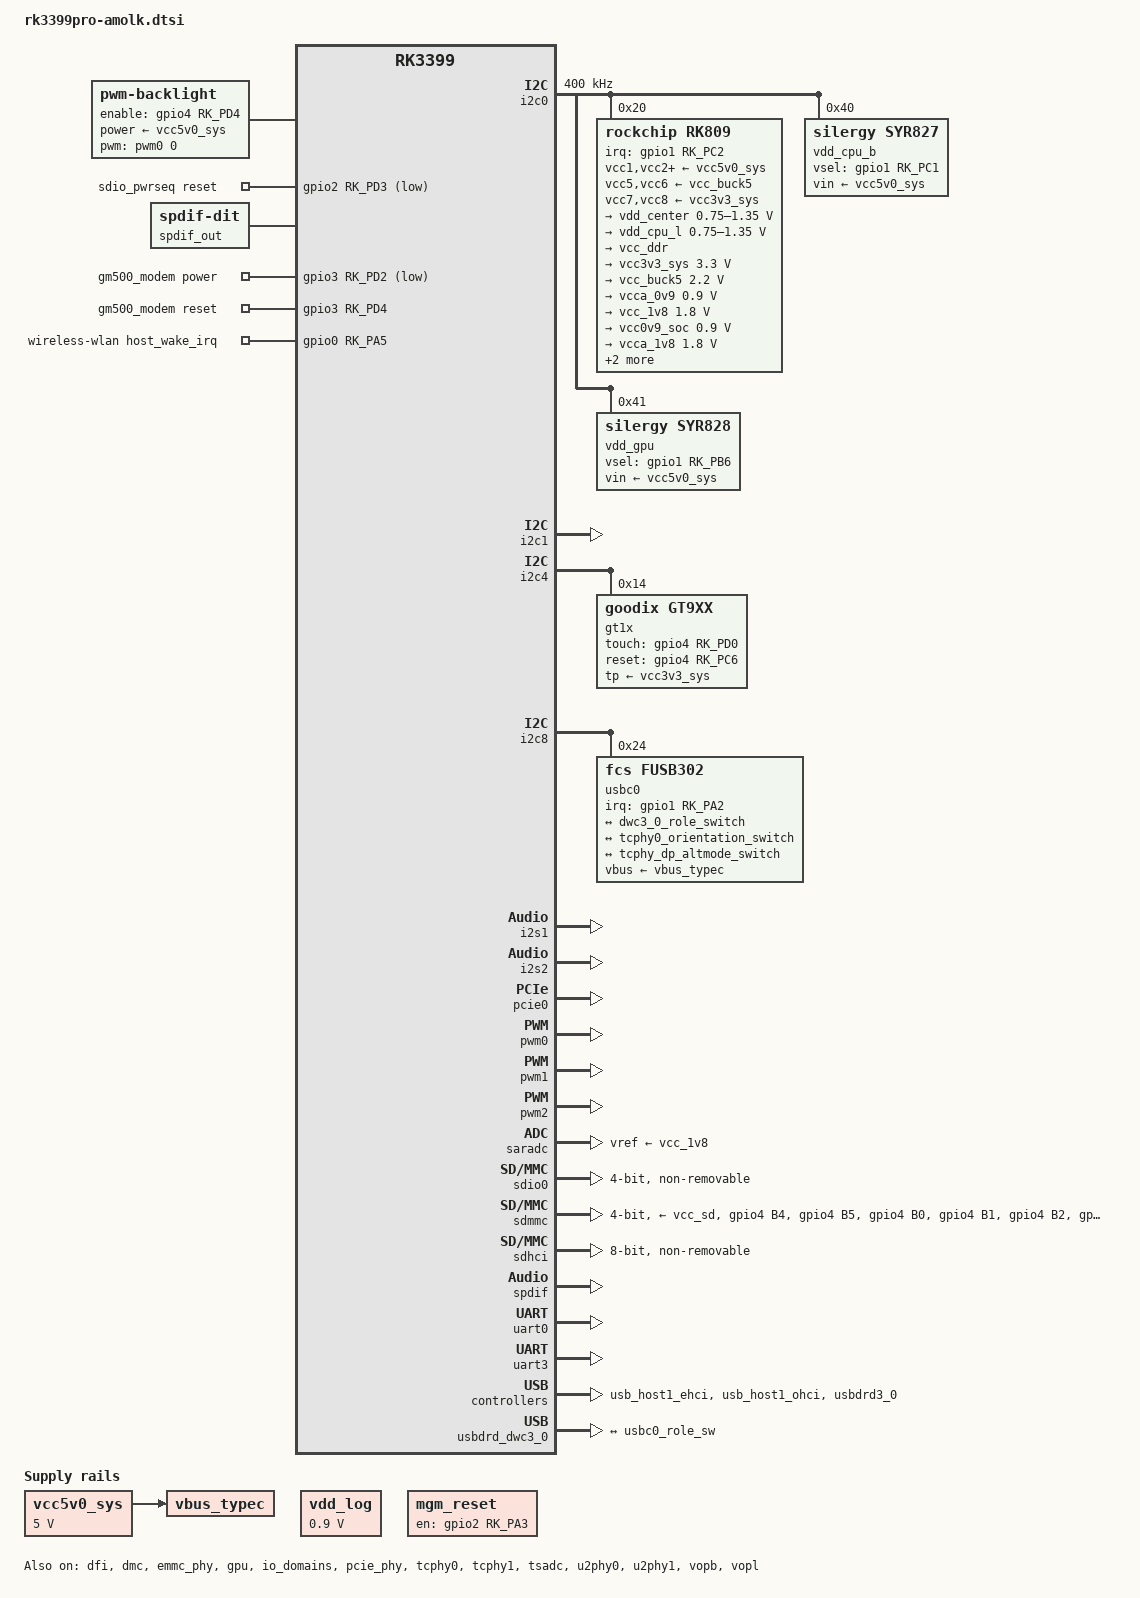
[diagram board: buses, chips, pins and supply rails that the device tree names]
// SPDX-License-Identifier: (GPL-2.0+ OR MIT)

#include <dt-bindings/pwm/pwm.h>
#include <dt-bindings/gpio/gpio.h>
#include <dt-bindings/pinctrl/rockchip.h>
#include <dt-bindings/input/input.h>
#include <dt-bindings/usb/pd.h>
#include <dt-bindings/display/drm_mipi_dsi.h>
#include <dt-bindings/sensor-dev.h>

#include "rk3399pro.dtsi"
#include "rk3399-opp.dtsi"

/ {
	compatible = "rockchip,rk3399pro-amolk",
				 "rockchip,rk3399pro-amolk-android",
				 "rockchip,rk3399pro";

	backlight: backlight {
		compatible = "pwm-backlight";
		power-supply = <&vcc5v0_sys>;
		pwms = <&pwm0 0 25000 0>;
		brightness-levels = <
			  0   1   2   3   4   5   6   7
			  8   9  10  11  12  13  14  15
			 16  17  18  19  20  21  22  23
			 24  25  26  27  28  29  30  31
			 32  33  34  35  36  37  38  39
			 40  41  42  43  44  45  46  47
			 48  49  50  51  52  53  54  55
			 56  57  58  59  60  61  62  63
			 64  65  66  67  68  69  70  71
			 72  73  74  75  76  77  78  79
			 80  81  82  83  84  85  86  87
			 88  89  90  91  92  93  94  95
			 96  97  98  99 100 101 102 103
			104 105 106 107 108 109 110 111
			112 113 114 115 116 117 118 119
			120 121 122 123 124 125 126 127
			128 129 130 131 132 133 134 135
			136 137 138 139 140 141 142 143
			144 145 146 147 148 149 150 151
			152 153 154 155 156 157 158 159
			160 161 162 163 164 165 166 167
			168 169 170 171 172 173 174 175
			176 177 178 179 180 181 182 183
			184 185 186 187 188 189 190 191
			192 193 194 195 196 197 198 199
			200 201 202 203 204 205 206 207
			208 209 210 211 212 213 214 215
			216 217 218 219 220 221 222 223
			224 225 226 227 228 229 230 231
			232 233 234 235 236 237 238 239
			240 241 242 243 244 245 246 247
			248 249 250 251 252 253 254 255
		>;
		default-brightness-level = <200>;
		enable-gpios = <&gpio4 RK_PD4 GPIO_ACTIVE_HIGH>;
	};

	sdio_pwrseq: sdio-pwrseq {
		compatible = "mmc-pwrseq-simple";
		clocks = <&rk809 1>;
		clock-names = "ext_clock";
		pinctrl-names = "default";
		pinctrl-0 = <&wifi_reg_on_h>;
		reset-gpios = <&gpio2 RK_PD3 GPIO_ACTIVE_LOW>;
		status = "okay";
	};

	spdif-sound {
		status = "okay";
		compatible = "simple-audio-card";
		simple-audio-card,name = "rockchip,spdif";
		simple-audio-card,cpu {
			sound-dai = <&spdif>;
		};
		simple-audio-card,codec {
			sound-dai = <&spdif_out>;
		};
	};

	spdif_out: spdif-out {
		status = "okay";
		compatible = "linux,spdif-dit";
		#sound-dai-cells = <0>;
	};

	vcc5v0_sys: vccsys {
		compatible = "regulator-fixed";
		regulator-name = "vcc5v0_sys";
		regulator-always-on;
		regulator-boot-on;
		regulator-min-microvolt = <5000000>;
		regulator-max-microvolt = <5000000>;
	};

	vdd_log: vdd_log {
		compatible = "regulator-fixed";
		regulator-name = "vdd_log";
		regulator-always-on;
		regulator-boot-on;
		regulator-min-microvolt = <900000>;
		regulator-max-microvolt = <900000>;
	};

	vbus_typec: vbus-typec-regulator {
		compatible = "regulator-fixed";
		enable-active-high;
		regulator-always-on;
		regulator-boot-on;
		regulator-name = "vbus_typec";
		vin-supply = <&vcc5v0_sys>;
	};

	rk809_sound: rk809-sound {
		compatible = "rockchip,multicodecs-card";
		rockchip,card-name = "rockchip,rk809-codec";
		rockchip,codec-hp-det;
		rockchip,mclk-fs = <256>;
		rockchip,cpu = <&i2s1>;
		rockchip,codec = <&rk809_codec>;
		status = "okay";
	};

	hdmi_sound: hdmi-sound {
		compatible = "rockchip,hdmi";
		rockchip,mclk-fs = <256>;
		rockchip,card-name = "rockchip,hdmi";
		rockchip,cpu = <&i2s2>;
		rockchip,codec = <&hdmi>;
		rockchip,jack-det;
		status = "okay";
	};

	wireless_bluetooth: wireless-bluetooth {
		compatible = "bluetooth-platdata";
		clocks = <&rk809 1>;
		clock-names = "ext_clock";
		uart_rts_gpios = <&gpio2 RK_PC3 GPIO_ACTIVE_LOW>;
		pinctrl-names = "default", "rts_gpio";
		pinctrl-0 = <&uart0_rts>;
		pinctrl-1 = <&uart0_pins>;
		BT,reset_gpio    = <&gpio2 RK_PA3 GPIO_ACTIVE_HIGH>;
		BT,wake_gpio     = <&gpio2 RK_PA7 GPIO_ACTIVE_HIGH>;
		//BT,wake_host_irq = <&gpio0 RK_PA5 GPIO_ACTIVE_HIGH>;
		status = "disabled";
	};

	mgm_reset: mgm-reset {
		compatible = "regulator-fixed";
		regulator-name = "mgm_reset";
		enable-active-high;
		regulator-always-on;
		regulator-boot-on;
		gpio = <&gpio2 RK_PA3 GPIO_ACTIVE_HIGH>;
		status = "okay";
	};

	gm500_modem: gm500-modem {
		compatible = "4g-modem-platdata";
		pinctrl-names = "default";
		pinctrl-0 = <&gm500_power &gm500_reset>;
		4G,power-gpio = <&gpio3 RK_PD2 GPIO_ACTIVE_LOW>;
		4G,reset-gpio = <&gpio3 RK_PD4 GPIO_ACTIVE_HIGH>;
		status = "okay";
	};

	wireless-wlan {
		compatible = "wlan-platdata";
		rockchip,grf = <&grf>;
		wifi_chip_type = "wf200";
		sdio_vref = <1800>;
		WIFI,host_wake_irq = <&gpio0 RK_PA5 GPIO_ACTIVE_HIGH>;
		status = "okay";
	};

	// usbhub_reset: usbhub-reset {
	// 	compatible = "usbhub-reset";
	// 	uhrst-gpio = <&gpio4 RK_PC5 GPIO_ACTIVE_HIGH>;
	// };
};

&cdn_dp {
	status = "disabled";
	phys = <&tcphy0_dp>;
};

&cpu_l0 {
	cpu-supply = <&vdd_cpu_l>;
};

&cpu_l1 {
	cpu-supply = <&vdd_cpu_l>;
};

&cpu_l2 {
	cpu-supply = <&vdd_cpu_l>;
};

&cpu_l3 {
	cpu-supply = <&vdd_cpu_l>;
};

&cpu_b0 {
	cpu-supply = <&vdd_cpu_b>;
};

&cpu_b1 {
	cpu-supply = <&vdd_cpu_b>;
};

&dfi {
	status = "okay";
};

&dmc {
	status = "okay";
	center-supply = <&vdd_center>;
	upthreshold = <40>;
	downdifferential = <20>;
	system-status-freq = <
		/*system status         freq(KHz)*/
		SYS_STATUS_NORMAL       856000
		SYS_STATUS_REBOOT       416000
		SYS_STATUS_SUSPEND      416000
		SYS_STATUS_VIDEO_1080P  416000
		SYS_STATUS_VIDEO_4K     856000
		SYS_STATUS_VIDEO_4K_10B 856000
		SYS_STATUS_PERFORMANCE  856000
		SYS_STATUS_BOOST        856000
		SYS_STATUS_DUALVIEW     856000
		SYS_STATUS_ISP          856000
	>;
	vop-pn-msch-readlatency = <
	/* plane_number  readlatency */
		0	0
		4	0x20
	>;
	vop-bw-dmc-freq = <
	/* min_bw(MB/s) max_bw(MB/s) freq(KHz) */
		763     1893     416000
		3013    99999    856000
	>;
	auto-min-freq = <416000>;
	auto-freq-en = <0>;
};

&dmc_opp_table {
	compatible = "operating-points-v2";

	opp-200000000 {
		opp-hz = /bits/ 64 <200000000>;
		opp-microvolt = <825000>;
		status = "disabled";
	};
	opp-300000000 {
		opp-hz = /bits/ 64 <300000000>;
		opp-microvolt = <850000>;
		status = "disabled";
	};
	opp-400000000 {
		opp-hz = /bits/ 64 <400000000>;
		opp-microvolt = <900000>;
		status = "disabled";
	};
	opp-528000000 {
		opp-hz = /bits/ 64 <528000000>;
		opp-microvolt = <900000>;
		status = "disabled";
	};
	opp-600000000 {
		opp-hz = /bits/ 64 <600000000>;
		opp-microvolt = <900000>;
		status = "disabled";
	};
	opp-800000000 {
		opp-hz = /bits/ 64 <800000000>;
		opp-microvolt = <900000>;
		status = "disabled";
	};
	opp-328000000 {
		opp-hz = /bits/ 64 <328000000>;
		opp-microvolt = <850000>;
		status = "okay";
	};
	opp-416000000 {
		opp-hz = /bits/ 64 <416000000>;
		opp-microvolt = <900000>;
		status = "okay";
	};
	opp-666000000 {
		opp-hz = /bits/ 64 <666000000>;
		opp-microvolt = <900000>;
		status = "okay";
	};
	opp-856000000 {
		opp-hz = /bits/ 64 <856000000>;
		opp-microvolt = <900000>;
		status = "okay";
	};
};

&emmc_phy {
	status = "okay";
};

&gpu {
	status = "okay";
	mali-supply = <&vdd_gpu>;
};

&i2c0 {
	status = "okay";
	i2c-scl-rising-time-ns = <180>;
	i2c-scl-falling-time-ns = <30>;
	clock-frequency = <400000>;

	rk809: pmic@20 {
		compatible = "rockchip,rk809";
		reg = <0x20>;
		interrupt-parent = <&gpio1>;
		interrupts = <RK_PC2 IRQ_TYPE_LEVEL_LOW>;
		pinctrl-names = "default", "pmic-sleep",
				"pmic-power-off", "pmic-reset";
		pinctrl-0 = <&pmic_int_l>;
		pinctrl-1 = <&soc_slppin_slp>, <&rk809_slppin_slp>;
		pinctrl-2 = <&soc_slppin_gpio>, <&rk809_slppin_pwrdn>;
		pinctrl-3 = <&soc_slppin_gpio>,<&rk809_slppin_null>;
		rockchip,system-power-controller;
		pmic-reset-func = <0>;
		wakeup-source;
		#clock-cells = <1>;
		clock-output-names = "rk808-clkout1", "rk808-clkout2";

		vcc1-supply = <&vcc5v0_sys>;
		vcc2-supply = <&vcc5v0_sys>;
		vcc3-supply = <&vcc5v0_sys>;
		vcc4-supply = <&vcc5v0_sys>;
		vcc5-supply = <&vcc_buck5>;
		vcc6-supply = <&vcc_buck5>;
		vcc7-supply = <&vcc3v3_sys>;
		vcc8-supply = <&vcc3v3_sys>;
		vcc9-supply = <&vcc5v0_sys>;

		pwrkey {
			status = "okay";
		};

		rtc {
			status = "okay";
		};

		pinctrl_rk8xx: pinctrl_rk8xx {
			gpio-controller;
			#gpio-cells = <2>;

			rk809_slppin_null: rk809_slppin_null {
				pins = "gpio_slp";
				function = "pin_fun0";
			};

			rk809_slppin_slp: rk809_slppin_slp {
				pins = "gpio_slp";
				function = "pin_fun1";
			};

			rk809_slppin_pwrdn: rk809_slppin_pwrdn {
				pins = "gpio_slp";
				function = "pin_fun2";
			};

			rk809_slppin_rst: rk809_slppin_rst {
				pins = "gpio_slp";
				function = "pin_fun3";
			};
		};

		regulators {
			vdd_center: DCDC_REG1 {
				regulator-always-on;
				regulator-boot-on;
				regulator-min-microvolt = <750000>;
				regulator-max-microvolt = <1350000>;
				regulator-initial-mode = <0x2>;
				regulator-name = "vdd_center";
				regulator-state-mem {
					regulator-off-in-suspend;
					regulator-suspend-microvolt = <900000>;
				};
			};

			vdd_cpu_l: DCDC_REG2 {
				regulator-always-on;
				regulator-boot-on;
				regulator-min-microvolt = <750000>;
				regulator-max-microvolt = <1350000>;
				regulator-ramp-delay = <6001>;
				regulator-initial-mode = <0x2>;
				regulator-name = "vdd_cpu_l";
				regulator-state-mem {
					regulator-off-in-suspend;
				};
			};

			vcc_ddr: DCDC_REG3 {
				regulator-always-on;
				regulator-boot-on;
				regulator-name = "vcc_ddr";
				regulator-initial-mode = <0x2>;
				regulator-state-mem {
					regulator-on-in-suspend;
				};
			};

			vcc3v3_sys: DCDC_REG4 {
				regulator-always-on;
				regulator-boot-on;
				regulator-min-microvolt = <3300000>;
				regulator-max-microvolt = <3300000>;
				regulator-initial-mode = <0x2>;
				regulator-name = "vcc3v3_sys";
				regulator-state-mem {
					regulator-on-in-suspend;
					regulator-suspend-microvolt = <3300000>;
				};
			};

			vcc_buck5: DCDC_REG5 {
				regulator-always-on;
				regulator-boot-on;
				regulator-min-microvolt = <2200000>;
				regulator-max-microvolt = <2200000>;
				regulator-name = "vcc_buck5";
				regulator-state-mem {
					regulator-on-in-suspend;
					regulator-suspend-microvolt = <2200000>;
				};
			};

			vcca_0v9: LDO_REG1 {
				regulator-always-on;
				regulator-boot-on;
				regulator-min-microvolt = <900000>;
				regulator-max-microvolt = <900000>;
				regulator-name = "vcca_0v9";
				regulator-state-mem {
					regulator-off-in-suspend;
				};
			};

			vcc_1v8: LDO_REG2 {
				regulator-always-on;
				regulator-boot-on;
				regulator-min-microvolt = <1800000>;
				regulator-max-microvolt = <1800000>;

				regulator-name = "vcc_1v8";
				regulator-state-mem {
					regulator-on-in-suspend;
					regulator-suspend-microvolt = <1800000>;
				};
			};

			vcc0v9_soc: LDO_REG3 {
				regulator-always-on;
				regulator-boot-on;
				regulator-min-microvolt = <900000>;
				regulator-max-microvolt = <900000>;

				regulator-name = "vcc0v9_soc";
				regulator-state-mem {
					regulator-on-in-suspend;
					regulator-suspend-microvolt = <900000>;
				};
			};

			vcca_1v8: LDO_REG4 {
				regulator-always-on;
				regulator-boot-on;
				regulator-min-microvolt = <1800000>;
				regulator-max-microvolt = <1800000>;

				regulator-name = "vcca_1v8";
				regulator-state-mem {
					regulator-off-in-suspend;
				};
			};

			vdd1v5_dvp: LDO_REG5 {
				regulator-always-on;
				regulator-boot-on;
				regulator-min-microvolt = <1500000>;
				regulator-max-microvolt = <1500000>;

				regulator-name = "vdd1v5_dvp";
				regulator-state-mem {
					regulator-off-in-suspend;
				};
			};

			vcc_1v5: LDO_REG6 {
				regulator-always-on;
				regulator-boot-on;
				regulator-min-microvolt = <1500000>;
				regulator-max-microvolt = <1500000>;

				regulator-name = "vcc_1v5";
				regulator-state-mem {
					regulator-off-in-suspend;
				};
			};

			vcc_3v0: LDO_REG7 {
				regulator-always-on;
				regulator-boot-on;
				regulator-min-microvolt = <3000000>;
				regulator-max-microvolt = <3000000>;

				regulator-name = "vcc_3v0";
				regulator-state-mem {
					regulator-off-in-suspend;
				};
			};

			vccio_sd: LDO_REG8 {
				regulator-always-on;
				regulator-boot-on;
				regulator-min-microvolt = <1800000>;
				regulator-max-microvolt = <3300000>;

				regulator-name = "vccio_sd";
				regulator-state-mem {
					regulator-off-in-suspend;
				};
			};

			vcc_sd: LDO_REG9 {
				regulator-always-on;
				regulator-boot-on;
				regulator-min-microvolt = <3300000>;
				regulator-max-microvolt = <3300000>;

				regulator-name = "vcc_sd";
				regulator-state-mem {
					regulator-off-in-suspend;
				};
			};

			vcc5v0_usb: SWITCH_REG1 {
				regulator-name = "vcc5v0_usb";
				regulator-state-mem {
					regulator-on-in-suspend;
				};
			};

			vccio_3v3: SWITCH_REG2 {
				regulator-always-on;
				regulator-boot-on;
				regulator-name = "vccio_3v3";
				regulator-state-mem {
					regulator-off-in-suspend;
				};
			};
		};

		rk809_codec: codec {
			#sound-dai-cells = <0>;
			compatible = "rockchip,rk809-codec", "rockchip,rk817-codec";
			clocks = <&cru SCLK_I2S_8CH_OUT>;
			clock-names = "mclk";
			pinctrl-names = "default";
			pinctrl-0 = <&i2s_8ch_mclk>;
			assigned-clocks = <&cru SCLK_I2SOUT_SRC>;
			assigned-clock-parents = <&cru SCLK_I2S1_8CH>;
			hp-volume = <20>;
			spk-volume = <3>;
			status = "okay";
		};
	};

	vdd_cpu_b: syr837@40 {
		compatible = "silergy,syr827";
		reg = <0x40>;
		vin-supply = <&vcc5v0_sys>;
		regulator-compatible = "fan53555-reg";
		pinctrl-0 = <&vsel1_gpio>;
		vsel-gpios = <&gpio1 RK_PC1 GPIO_ACTIVE_HIGH>;
		regulator-name = "vdd_cpu_b";
		regulator-min-microvolt = <712500>;
		regulator-max-microvolt = <1500000>;
		regulator-ramp-delay = <1000>;
		fcs,suspend-voltage-selector = <1>;
		regulator-always-on;
		regulator-boot-on;
		regulator-initial-state = <3>;

		regulator-state-mem {
			regulator-off-in-suspend;
		};
	};

	vdd_gpu: syr828@41 {
		compatible = "silergy,syr828";
		status = "okay";
		reg = <0x41>;
		vin-supply = <&vcc5v0_sys>;
		regulator-compatible = "fan53555-reg";
		pinctrl-0 = <&vsel2_gpio>;
		vsel-gpios = <&gpio1 RK_PB6 GPIO_ACTIVE_HIGH>;
		regulator-name = "vdd_gpu";
		regulator-min-microvolt = <735000>;
		regulator-max-microvolt = <1400000>;
		regulator-ramp-delay = <1000>;
		fcs,suspend-voltage-selector = <1>;
		regulator-always-on;
		regulator-boot-on;

		regulator-state-mem {
			regulator-off-in-suspend;
		};
	};
};

&i2c1 {
	i2c-scl-falling-time-ns = <30>;
	i2c-scl-rising-time-ns = <140>;
	status = "okay";
};

&i2c4 {
	status = "okay";

	gt1x: gt1x@14 {
		reg = <0x14>;
		compatible = "goodix,gt9xx";
		pinctrl-names = "default";
		pinctrl-0 = <&mipi_touch_int>;
		touch-gpio = <&gpio4 RK_PD0 IRQ_TYPE_LEVEL_HIGH>;
		reset-gpio = <&gpio4 RK_PC6 GPIO_ACTIVE_HIGH>;
		max-x = <1024>;
		max-y = <600>;
		tp-size = <9110>;
		tp-supply = <&vcc3v3_sys>;
		status = "okay";
	};
};

&i2c8 {
	status = "okay";
	i2c-scl-rising-time-ns = <345>;
	i2c-scl-falling-time-ns = <11>;

	usbc0: fusb302@24 {
		compatible = "fcs,fusb302";
		reg = <0x24>;
		interrupt-parent = <&gpio1>;
		interrupts = <RK_PA2 IRQ_TYPE_LEVEL_LOW>;
		pinctrl-names = "default";
		pinctrl-0 = <&usbc0_int>;
		vbus-supply = <&vbus_typec>;
		status = "okay";

		ports {
			#address-cells = <1>;
			#size-cells = <0>;

			port@0 {
				reg = <0>;
				usbc0_role_sw: endpoint@0 {
					remote-endpoint = <&dwc3_0_role_switch>;
				};
			};
		};

		usb_con: connector {
			compatible = "usb-c-connector";
			label = "USB-C";
			data-role = "dual";
			power-role = "dual";
			try-power-role = "sink";
			op-sink-microwatt = <1000000>;
			sink-pdos =
				<PDO_FIXED(5000, 2500, PDO_FIXED_USB_COMM)>;
			source-pdos =
				<PDO_FIXED(5000, 1500, PDO_FIXED_USB_COMM)>;

			displayport = <&cdn_dp>;

			altmodes {
				#address-cells = <1>;
				#size-cells = <0>;

				altmode@0 {
					reg = <0>;
					svid = <0xff01>;
					vdo = <0xffffffff>;
				};
			};

			ports {
				#address-cells = <1>;
				#size-cells = <0>;

				port@0 {
					reg = <0>;

					usbc0_orien_sw: endpoint {
						remote-endpoint = <&tcphy0_orientation_switch>;
					};
				};

				port@1 {
					reg = <1>;

					dp_mode_sw: endpoint {
						remote-endpoint = <&tcphy_dp_altmode_switch>;
					};
				};
			};
		};
	};
};

&i2s1 {
        status = "okay";
        #sound-dai-cells = <0>;
};

&i2s2 {
        status = "okay";
        dmas = <&dmac_bus 4>;
        dma-names ="tx";
        #sound-dai-cells = <0>;
};

&io_domains {
	status = "okay";

	bt656-supply = <&vcca_1v8>; /* APIO2_VDD */
	audio-supply = <&vcca_1v8>; /* APIO5_VDD */
	sdmmc-supply = <&vccio_sd>; /* SDMMC0_VDD */
	gpio1830-supply = <&vcc_3v0>; /* APIO4_VDD */
};

&pcie_phy {
	status = "okay";
};

&pcie0 {
	status = "okay";
};

&pmu_pvtm {
	status = "okay";
};

&pmu_io_domains {
	status = "okay";
	pmu1830-supply = <&vcc_1v8>;
};

&pwm0 {
	status = "okay";
};

&pwm1 {
	status = "okay";
};

&pwm2 {
	status = "okay";
};

&rockchip_suspend {
	status = "okay";
	rockchip,sleep-debug-en = <1>;
	rockchip,sleep-mode-config = <
		(0
		| RKPM_SLP_ARMPD
		| RKPM_SLP_PERILPPD
		| RKPM_SLP_DDR_RET
		| RKPM_SLP_PLLPD
		| RKPM_SLP_CENTER_PD
		| RKPM_SLP_OSC_DIS
		| RKPM_SLP_AP_PWROFF
		)
	>;
	rockchip,wakeup-config = <RKPM_GPIO_WKUP_EN>;
	rockchip,pwm-regulator-config = <PWM2_REGULATOR_EN>;
	rockchip,power-ctrl =
		<&gpio1 RK_PC1 GPIO_ACTIVE_HIGH>,
		<&gpio1 RK_PB6 GPIO_ACTIVE_HIGH>;
};

&saradc {
	status = "okay";
	vref-supply = <&vcc_1v8>;
};

&sdio0 {
	clock-frequency = <50000000>;
	clock-freq-min-max = <200000 50000000>;
	supports-sdio;
	bus-width = <4>;
	disable-wp;
	cap-sd-highspeed;
	cap-sdio-irq;
	keep-power-in-suspend;
	mmc-pwrseq = <&sdio_pwrseq>;
	non-removable;
	num-slots = <1>;
	pinctrl-names = "default";
	pinctrl-0 = <&sdio0_bus4 &sdio0_cmd &sdio0_clk>;
	#address-cells = <1>;
	#size-cells = <0>;
	status = "okay";

	// wf200: mmc@1 {
	// 	compatible = "silabs,wf200";
	// 	reg = <1>;
	// 	pinctrl-names = "default";
	// 	pinctrl-0 = <&bt_wake_pin>;
	// 	wakeup-gpios = <&gpio2 RK_PD2 GPIO_ACTIVE_HIGH>;
	// 	config-file = "wf200.pds";
	// };
};

&sdmmc {
	clock-frequency = <150000000>;
	clock-freq-min-max = <100000 150000000>;
	no-sdio;
	no-mmc;
	bus-width = <4>;
	cap-mmc-highspeed;
	cap-sd-highspeed;
	disable-wp;
	num-slots = <1>;
	sd-uhs-sdr12;
	sd-uhs-sdr25;
	sd-uhs-sdr50;
	sd-uhs-sdr104;
	vmmc-supply = <&vcc_sd>;
	vqmmc-supply = <&vccio_sd>;
	pinctrl-names = "default";
	pinctrl-0 = <&sdmmc_clk &sdmmc_cmd &sdmmc_cd &sdmmc_bus4>;
	status = "okay";
};

&sdhci {
	bus-width = <8>;
	mmc-hs400-1_8v;
	no-sdio;
	no-sd;
	non-removable;
	keep-power-in-suspend;
	mmc-hs400-enhanced-strobe;
	status = "okay";
};

&spdif {
	status = "okay";
	pinctrl-0 = <&spdif_bus>;
	i2c-scl-rising-time-ns = <450>;
	i2c-scl-falling-time-ns = <15>;
	#sound-dai-cells = <0>;
};

&tcphy0 {
	status = "okay";
	svid = <0xff01>;
	orientation-switch;

	port {
		#address-cells = <1>;
		#size-cells = <0>;

		tcphy0_orientation_switch: endpoint@0 {
			reg = <0>;
			remote-endpoint = <&usbc0_orien_sw>;
		};

		tcphy_dp_altmode_switch: endpoint@1 {
			reg = <1>;
			remote-endpoint = <&dp_mode_sw>;
		};
	};
};

&tcphy1 {
	status = "okay";
};

&tsadc {
	rockchip,hw-tshut-mode = <1>; /* tshut mode 0:CRU 1:GPIO */
	rockchip,hw-tshut-polarity = <1>; /* tshut polarity 0:LOW 1:HIGH */
	status = "okay";
};

&u2phy0 {
	status = "okay";
	extcon = <&usbc0>;

	u2phy0_otg: otg-port {
		status = "okay";
	};

	u2phy0_host: host-port {
		phy-supply = <&vcc5v0_usb>;
		status = "okay";
	};
};

&u2phy1 {
	status = "okay";

	u2phy1_otg: otg-port {
		status = "okay";
	};

	u2phy1_host: host-port {
		phy-supply = <&vcc5v0_usb>;
		status = "okay";
	};
};

&uart0 {
	status = "okay";
};

&uart3 {
	status = "okay";
};

&usb_host1_ehci {
	status = "okay";
};

&usb_host1_ohci {
	status = "okay";
};

&usbdrd3_0 {
	status = "okay";
};

&usbdrd_dwc3_0 {
	status = "okay";
	usb-role-switch;

	port {
		#address-cells = <1>;
		#size-cells = <0>;

		dwc3_0_role_switch: endpoint@0 {
			reg = <0>;
			remote-endpoint = <&usbc0_role_sw>;
		};
	};
};

&vopb {
	rockchip,grf = <&grf>;
	assigned-clocks = <&cru DCLK_VOP0_DIV>;
	assigned-clock-parents = <&cru PLL_CPLL>;
	status = "okay";
};

&vopb_mmu {
	status = "okay";
};

&vopl {
	rockchip,grf = <&grf>;
	assigned-clocks = <&cru DCLK_VOP1_DIV>;
	assigned-clock-parents = <&cru PLL_VPLL>;
	status = "okay";
};

&vopl_mmu {
	status = "okay";
};

&pcie0 {
	/delete-property/ pinctrl-0;
	/delete-property/ pinctrl-names;
};

&pinctrl {
	pinctrl-names = "default";
	pinctrl-0 = <&npu_ref_clk>;

	gm500-modem {
		gm500_power: gm500-power-gpio {
			rockchip,pins = <3 RK_PD2 RK_FUNC_GPIO &pcfg_pull_up>;
		};

		gm500_reset: gm500-reset-gpio {
			rockchip,pins = <3 RK_PD4 RK_FUNC_GPIO &pcfg_pull_up>;
		};
	};

	usbc {
		usbc0_int: usbc0-int {
			rockchip,pins =
				<1 RK_PA2 RK_FUNC_GPIO &pcfg_pull_up>;
		};
	};

	lcd {
		lcd_enable_gpio: lcd-enable-gpio {
			rockchip,pins =
				<4 RK_PD6 RK_FUNC_GPIO &pcfg_output_high>;
		};

		lcd_rst_gpio: lcd-rst-gpio {
			rockchip,pins =
				<1 RK_PA1 RK_FUNC_GPIO &pcfg_pull_none>;
		};
	};

	npu_clk {
		npu_ref_clk: npu-ref-clk {
		     rockchip,pins =
			     <0 RK_PA2 1 &pcfg_pull_none>;
	     };
	};

	pmic {
		pmic_int_l: pmic-int-l {
			rockchip,pins =
				<1 RK_PC2 RK_FUNC_GPIO &pcfg_pull_up>;
		};
		vsel1_gpio: vsel1-gpio {
			rockchip,pins =
				<1 RK_PC1 RK_FUNC_GPIO &pcfg_pull_down>;
		};
		vsel2_gpio: vsel2-gpio {
			rockchip,pins =
				<1 RK_PB6 RK_FUNC_GPIO &pcfg_pull_down>;
		};

		soc_slppin_gpio: soc-slppin-gpio {
			rockchip,pins =
				<1 RK_PA5 RK_FUNC_GPIO &pcfg_output_low>;
		};

		soc_slppin_slp: soc-slppin-slp {
			rockchip,pins =
				<1 RK_PA5 1 &pcfg_pull_down>;
		};
	};

	sdmmc {
		sdmmc_bus1: sdmmc-bus1 {
			rockchip,pins =
				<4 RK_PB0 1 &pcfg_pull_up_10ma>;
		};

		sdmmc_bus4: sdmmc-bus4 {
			rockchip,pins =
				<4 RK_PB0 1 &pcfg_pull_up_10ma>,
				<4 RK_PB1 1 &pcfg_pull_up_10ma>,
				<4 RK_PB2 1 &pcfg_pull_up_10ma>,
				<4 RK_PB3 1 &pcfg_pull_up_10ma>;
		};

		sdmmc_clk: sdmmc-clk {
			rockchip,pins =
				<4 RK_PB4 1 &pcfg_pull_none_10ma>;
		};

		sdmmc_cmd: sdmmc-cmd {
			rockchip,pins =
				<4 RK_PB5 1 &pcfg_pull_up_10ma>;
		};
	};

	touch {
		mipi_touch_int: mipi-touch-int {
			rockchip,pins =
				<4 RK_PD0 RK_FUNC_GPIO &pcfg_pull_none>,
				<4 RK_PC6 RK_FUNC_GPIO &pcfg_output_high>;
		};
	};

	wireless-bluetooth {
		uart0_pins: uart0-pins {
			rockchip,pins =
				<2 RK_PC3 RK_FUNC_GPIO &pcfg_pull_none>;
		};
	};

	wireless-lan {
		wifi_reg_on_h: wifi-reg-on-h {
			rockchip,pins =
				<2 RK_PD3 RK_FUNC_GPIO &pcfg_pull_none>;
		};

		bt_wake_pin: bt-wake-pin {
			rockchip,pins =
				<2 RK_PD2 RK_FUNC_GPIO &pcfg_pull_none>;
		};

		bt_host_wake_pin: bt-host-wake-pin {
			rockchip,pins =
				<0 RK_PA5 RK_FUNC_GPIO &pcfg_pull_none>;
		};
	};
};
